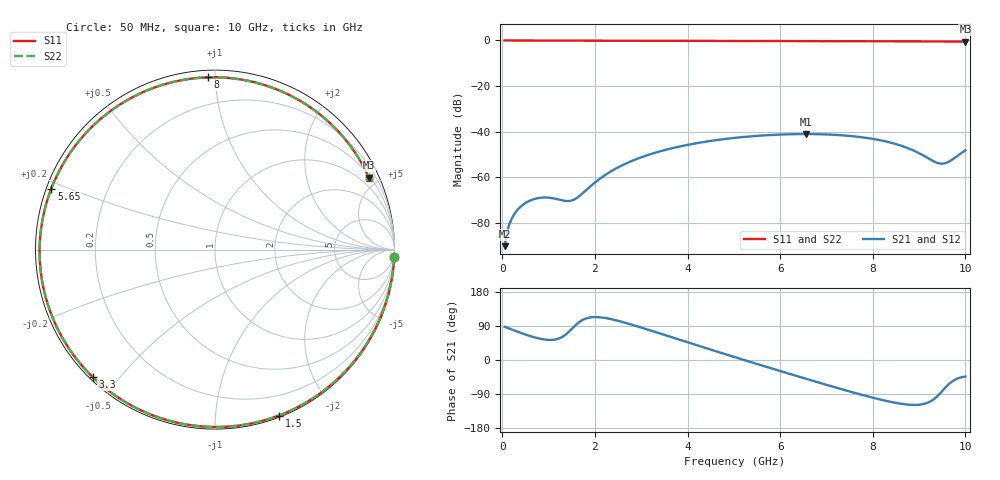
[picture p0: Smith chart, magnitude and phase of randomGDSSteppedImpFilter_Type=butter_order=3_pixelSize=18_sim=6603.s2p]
! freq	dB(S11)	phase(S11)	dB(S12)	phase(S12)
!  dB(S21)	phase(S21)	dB(S22)	phase(S22)
!S-par simulation data
#  GHz  S  DB  R 50
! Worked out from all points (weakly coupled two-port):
!   200 points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, 50 MHz to 10 GHz, reference 50 ohm
!   highest |S21| = -41.00 dB at 6.55 GHz (marker M1); lowest = -90.1 dB at 50 MHz (marker M2)
!   lowest |S11| = -0.5 dB at 10 GHz (marker M3), VSWR 36.17, Z = 28.8 + j221 ohm
!   |S11| at or under -10 dB: nowhere
!   |S22| runs from -0.5 to 0.0 dB; largest |S21 - S12| = 0
!   S11 on the Smith chart (normalised r, x): 50 MHz: 0, -47; 1.5 GHz: 0.01, -1.46; 3.3 GHz: 0.01, -0.43; 5.65 GHz: 0.01, +0.18; 8 GHz: 0.04, +0.96; 10 GHz: 0.58, +4.42
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0.05  -0.00 -2.4  -90.11 87.6  -90.11 87.6  -0.00 -2.4
0.15  -0.01 -7.3  -80.65 82.9  -80.65 82.9  -0.01 -7.3
0.35  -0.02 -16.9  -73.73 73.6  -73.73 73.6  -0.02 -16.9
0.65  -0.04 -31.1  -69.72 61.3  -69.72 61.3  -0.04 -31.1
0.95  -0.06 -44.9  -68.80 53.5  -68.80 53.5  -0.06 -44.9
1.5  -0.08 -68.9  -70.09 82.1  -70.09 82.1  -0.08 -68.9
1.75  -0.09 -79.2  -66.67 106.7  -66.67 106.7  -0.09 -79.2
2.45  -0.11 -105.6  -56.13 105.0  -56.13 105.0  -0.11 -105.6
3.3  -0.14 -133.9  -49.18 74.1  -49.18 74.1  -0.14 -133.9
3.4  -0.14 -137.0  -48.60 70.2  -48.60 70.2  -0.14 -137.0
4.2  -0.17 -160.6  -44.98 39.0  -44.98 39.0  -0.17 -160.6
5.05  -0.21 175.8  -42.60 6.4  -42.60 6.4  -0.21 175.9
5.65  -0.23 159.6  -41.58 -16.1  -41.58 -16.1  -0.23 159.6
6.55  -0.28 134.9  -41.00 -49.3  -41.00 -49.3  -0.28 134.9
6.7  -0.29 130.7  -41.02 -54.7  -41.02 -54.7  -0.29 130.7
7.4  -0.32 110.5  -41.64 -79.6  -41.64 -79.6  -0.32 110.6
8  -0.35 92.4  -43.10 -99.4  -43.10 -99.4  -0.35 92.4
8.35  -0.37 81.3  -44.56 -109.5  -44.56 -109.5  -0.37 81.4
8.9  -0.39 63.3  -48.39 -118.6  -48.39 -118.6  -0.39 63.4
9.45  -0.43 44.5  -53.91 -88.6  -53.91 -88.6  -0.43 44.6
9.65  -0.45 37.5  -53.00 -62.8  -53.00 -62.8  -0.45 37.6
10  -0.48 25.1  -48.12 -43.9  -48.12 -43.9  -0.48 25.2
